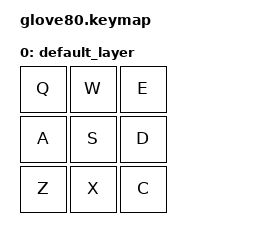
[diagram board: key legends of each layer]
/* Simple test keymap for Glove80 */
#include <behaviors.dtsi>
#include <dt-bindings/zmk/keys.h>

/ {
    keymap {
        compatible = "zmk,keymap";

        default_layer {
            bindings = <
                &kp Q &kp W &kp E
                &kp A &kp S &kp D
                &kp Z &kp X &kp C
            >;
        };
    };
};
